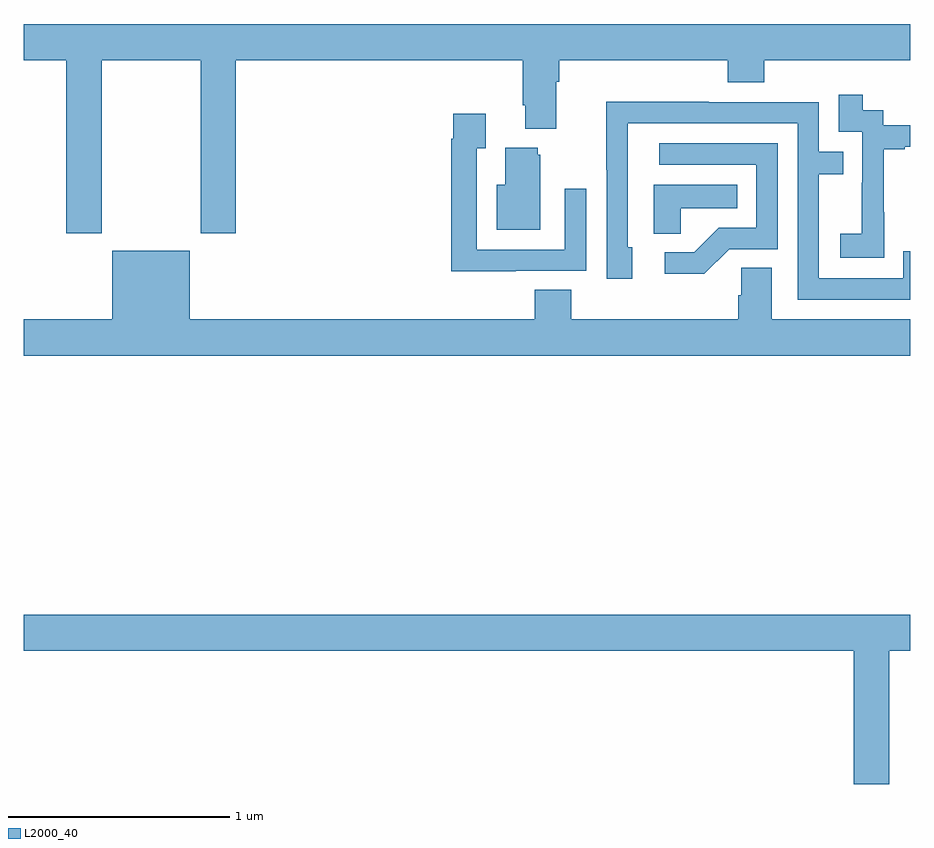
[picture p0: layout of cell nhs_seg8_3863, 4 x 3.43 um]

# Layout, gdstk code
import gdstk
lib = gdstk.Library(unit=1e-6, precision=1e-09)
def P(c, l, *ps):  # polygons
    for p in ps: c.add(gdstk.Polygon(p, *l))
L2000_40 = (2000, 40)

nhs_seg8_3863 = lib.new_cell('nhs_seg8_3863')
P(nhs_seg8_3863, L2000_40, [(349.353,1119.164),(349.798,1119.164),(349.798,1118.385),(349.958,1118.385),(349.958,1119.164),(351.251,1119.164),(351.251,1118.962),(351.263,1118.962),(351.263,1118.855),(351.403,1118.855),(351.403,1119.068),(351.416,1119.068),(351.416,1119.164),(352.175,1119.164),(352.175,1119.065),(352.34,1119.065),(352.34,1119.164),(353,1119.164),(353,1119.328),(349,1119.328),(349,1119.164),(349.193,1119.164),(349.193,1118.385),(349.353,1118.385)],
  [(352.881,1118.479),(352.88,1118.479),(352.88,1118.763),(352.975,1118.763),(352.975,1118.775),(353,1118.775),(353,1118.871),(352.878,1118.871),(352.878,1118.94),(352.786,1118.94),(352.786,1119.01),(352.677,1119.01),(352.677,1118.841),(352.782,1118.841),(352.782,1118.612),(352.781,1118.612),(352.781,1118.383),(352.683,1118.383),(352.683,1118.273),(352.881,1118.273)],
  [(353,1118.304),(352.968,1118.304),(352.968,1118.181),(352.587,1118.181),(352.587,1118.65),(352.697,1118.65),(352.697,1118.751),(352.587,1118.751),(352.587,1118.976),(352.091,1118.976),(352.091,1118.978),(351.628,1118.978),(351.628,1118.671),(351.63,1118.671),(351.63,1118.178),(351.745,1118.178),(351.745,1118.322),(351.726,1118.322),(351.726,1118.88),(352.491,1118.88),(352.491,1118.085),(353,1118.085)],
  [(351.221,1118.214),(351.537,1118.214),(351.537,1118.584),(351.441,1118.584),(351.441,1118.31),(351.045,1118.31),(351.045,1118.767),(351.085,1118.767),(351.085,1118.923),(350.937,1118.923),(350.937,1118.81),(350.929,1118.81),(350.929,1118.213),(351.221,1118.213)],
  [(352.182,1118.313),(352.401,1118.313),(352.401,1118.79),(351.867,1118.79),(351.867,1118.694),(352.305,1118.694),(352.305,1118.409),(352.136,1118.409),(352.025,1118.298),(351.891,1118.298),(351.891,1118.201),(352.069,1118.201)],
  [(351.331,1118.739),(351.32,1118.739),(351.32,1118.77),(351.173,1118.77),(351.173,1118.602),(351.134,1118.602),(351.134,1118.399),(351.331,1118.399)],
  [(351.963,1118.498),(352.22,1118.498),(352.22,1118.602),(351.842,1118.602),(351.842,1118.383),(351.963,1118.383)],
  [(353,1117.996),(352.375,1117.996),(352.375,1118.228),(352.236,1118.228),(352.236,1118.105),(352.223,1118.105),(352.223,1117.996),(351.47,1117.996),(351.47,1118.129),(351.305,1118.129),(351.305,1117.996),(349.75,1117.996),(349.75,1118.305),(349.4,1118.305),(349.4,1117.996),(349,1117.996),(349,1117.832),(353,1117.832)],
  [(352.905,1116.5),(353,1116.5),(353,1116.664),(349,1116.664),(349,1116.5),(352.745,1116.5),(352.745,1115.9),(352.905,1115.9)])

lib.write_gds('nhs_seg8_3863.gds')
